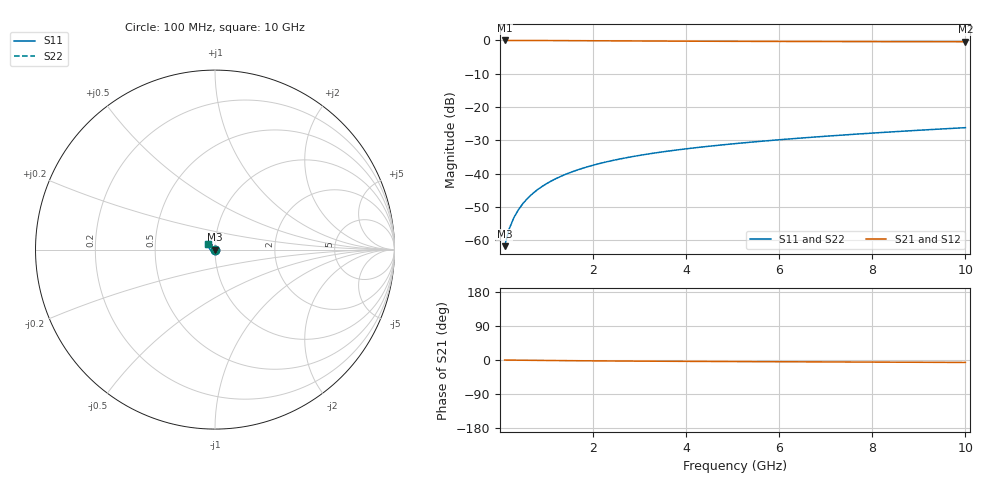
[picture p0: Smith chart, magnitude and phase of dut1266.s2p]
! Touchstone file exported from HFSS 2024.1.0
!  File:  C:/UserFiles/LocalFiles/RDL_TSV_Batchsim/temp_TSV1_1266_1780253878.aedt
!  Generated:  03:03:43 AM Jun  1, 2026
!  Design:  TSV1
!  Project:  temp_TSV1_1266_1780253878
!  Setup:  Setup1
!  Solution:  Sweep
! Variables:
!  dtsv = 6.33um
!  hbump = 3um
!  htsv = 95.44um
!  lrdl = 252.1521522um
!  p = 40
!  p1 = 57.9um
!  t = 500um
!  trdl = 3um
!  wrdl = 24.89489489um
# GHz S MA R 50.000000
! Terminal data exported
! Port[1] = TSV22_T1
! Port[2] = TSV22_T2
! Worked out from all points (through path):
!   100 points, 100 MHz to 10 GHz, reference 50 ohm
!   highest |S21| = 0.00 dB at 100 MHz (marker M1); lowest = -0.4 dB at 10 GHz (marker M2)
!   lowest |S11| = -61.8 dB at 100 MHz (marker M3), VSWR 1.00, Z = 50 - j0.0726 ohm
!   |S11| at or under -10 dB: start of sweep to end of sweep
!   |S22| runs from -61.8 to -26.2 dB; largest |S21 - S12| = 4.5e-15
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0.1  0.0008125 -63.2  0.9996 -0.1  0.9996 -0.1  0.0008125 -63.2
! Gamma 0 0 0 0
! Port Impedance 50 0 50 0
0.2  0.001486 -79.4  0.9995 -0.3  0.9995 -0.3  0.001486 -79.4
0.3  0.002187 -86.9  0.9993 -0.4  0.9993 -0.4  0.002187 -86.9
0.4  0.002892 -92.0  0.9991 -0.5  0.9991 -0.5  0.002892 -92.0
0.5  0.003597 -96.0  0.9988 -0.6  0.9988 -0.6  0.003597 -96.0
0.6  0.004298 -99.5  0.9984 -0.7  0.9984 -0.7  0.004298 -99.5
0.7  0.004996 -102.7  0.9981 -0.9  0.9981 -0.9  0.004996 -102.7
0.8  0.005687 -105.7  0.9976 -1.0  0.9976 -1.0  0.005687 -105.7
0.9  0.006372 -108.5  0.9971 -1.1  0.9971 -1.1  0.006372 -108.5
1.1  0.007721 -113.9  0.996 -1.3  0.996 -1.3  0.007721 -113.9
1.4  0.009681 -121.4  0.9941 -1.6  0.9941 -1.6  0.009681 -121.4
1.6  0.01094 -126.1  0.9926 -1.9  0.9926 -1.9  0.01094 -126.1
1.8  0.01217 -130.6  0.9911 -2.0  0.9911 -2.0  0.01217 -130.6
2.1  0.01393 -137.1  0.9888 -2.3  0.9888 -2.3  0.01393 -137.1
2.5  0.01616 -145.1  0.9856 -2.6  0.9856 -2.6  0.01616 -145.1
2.9  0.01826 -152.6  0.9826 -2.9  0.9826 -2.9  0.01826 -152.6
3.4  0.02074 -161.0  0.979 -3.2  0.979 -3.2  0.02074 -161.0
4.2  0.02445 -172.9  0.9739 -3.7  0.9739 -3.7  0.02445 -172.9
5.1  0.0284 175.8  0.9693 -4.2  0.9693 -4.2  0.0284 175.8
6.7  0.03515 160.1  0.9633 -4.9  0.9633 -4.9  0.03515 160.1
8.4  0.04224 147.6  0.9591 -5.7  0.9591 -5.7  0.04224 147.6
10  0.04896 138.5  0.9562 -6.5  0.9562 -6.5  0.04896 138.5
